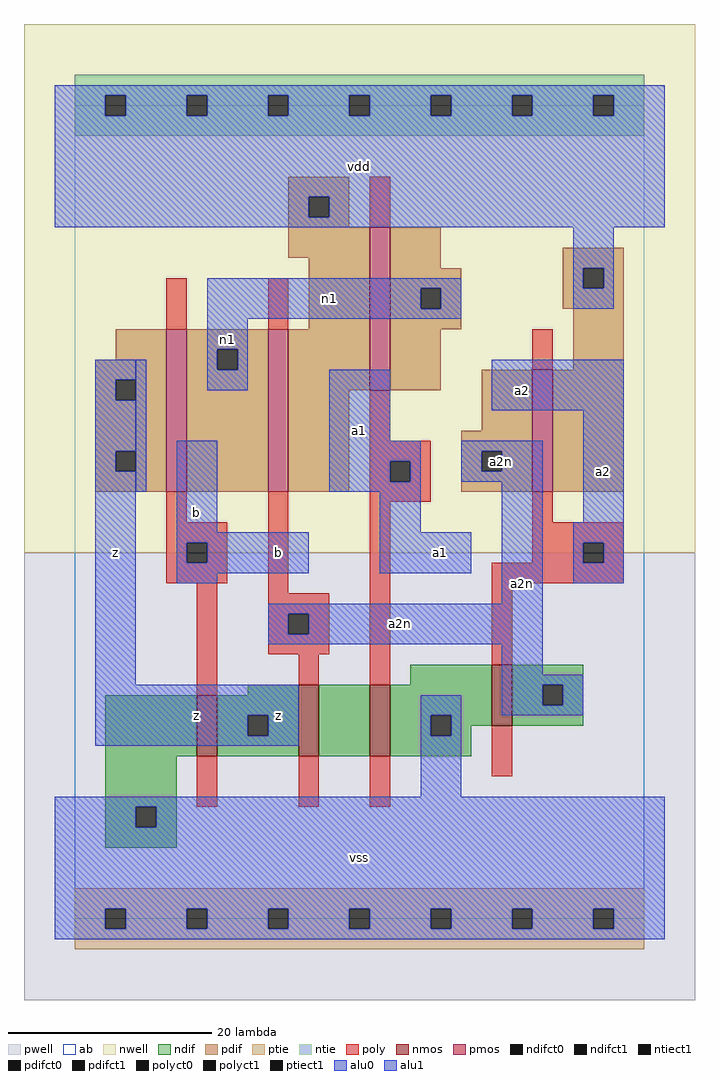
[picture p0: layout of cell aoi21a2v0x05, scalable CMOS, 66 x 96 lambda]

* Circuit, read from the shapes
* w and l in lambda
.subckt aoi21a2v0x05 a1 a2 a2n b n1 vdd vss z
M1 z b vss vss nfet w=6 l=2
M2 n2 a2n z vss nfet w=7 l=2
M3 vss a1 n2 vss nfet w=7 l=2
M4 a2n a2 vss vss nfet w=6 l=2
M5 n1 b z vdd pfet w=16 l=2
M6 vdd a2n n1 vdd pfet w=16 l=2
M7 n1 a1 vdd vdd pfet w=16 l=2
M8 vdd a2 a2n vdd pfet w=12 l=2
.ends

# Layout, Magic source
magic
tech scmos
<< ab >>
rect 0 0 56 80
<< nwell >>
rect -5 36 61 88
<< pwell >>
rect -5 -8 61 36
<< poly >>
rect 29 68 31 73
rect 9 58 11 63
rect 19 58 21 63
rect 45 54 47 58
rect 29 47 31 52
rect 29 45 35 47
rect 29 43 31 45
rect 33 43 35 45
rect 9 39 11 42
rect 9 37 15 39
rect 9 35 11 37
rect 13 35 15 37
rect 9 33 15 35
rect 12 22 14 33
rect 19 32 21 42
rect 29 41 35 43
rect 19 30 25 32
rect 19 28 21 30
rect 23 28 25 30
rect 19 26 25 28
rect 22 23 24 26
rect 29 23 31 41
rect 45 39 47 42
rect 45 37 54 39
rect 45 35 50 37
rect 52 35 54 37
rect 41 33 54 35
rect 41 25 43 33
rect 12 11 14 16
rect 22 11 24 16
rect 29 11 31 16
rect 41 14 43 19
<< ndif >>
rect 33 23 41 25
rect 17 22 22 23
rect 3 16 12 22
rect 14 20 22 22
rect 14 18 17 20
rect 19 18 22 20
rect 14 16 22 18
rect 24 16 29 23
rect 31 20 41 23
rect 31 18 35 20
rect 37 19 41 20
rect 43 23 50 25
rect 43 21 46 23
rect 48 21 50 23
rect 43 19 50 21
rect 37 18 39 19
rect 31 16 39 18
rect 3 11 10 16
rect 3 9 6 11
rect 8 9 10 11
rect 3 7 10 9
<< pdif >>
rect 21 71 27 73
rect 21 69 23 71
rect 25 69 27 71
rect 21 68 27 69
rect 21 65 29 68
rect 23 58 29 65
rect 4 55 9 58
rect 2 53 9 55
rect 2 51 4 53
rect 6 51 9 53
rect 2 46 9 51
rect 2 44 4 46
rect 6 44 9 46
rect 2 42 9 44
rect 11 56 19 58
rect 11 54 14 56
rect 16 54 19 56
rect 11 42 19 54
rect 21 52 29 58
rect 31 64 36 68
rect 48 64 54 66
rect 31 62 38 64
rect 31 60 34 62
rect 36 60 38 62
rect 48 62 50 64
rect 52 62 54 64
rect 48 60 54 62
rect 31 58 38 60
rect 31 52 36 58
rect 49 54 54 60
rect 21 42 27 52
rect 40 48 45 54
rect 38 46 45 48
rect 38 44 40 46
rect 42 44 45 46
rect 38 42 45 44
rect 47 42 54 54
<< alu1 >>
rect -2 81 58 82
rect -2 79 3 81
rect 5 79 11 81
rect 13 79 19 81
rect 21 79 27 81
rect 29 79 35 81
rect 37 79 43 81
rect 45 79 51 81
rect 53 79 58 81
rect -2 71 58 79
rect -2 69 23 71
rect 25 69 58 71
rect -2 68 58 69
rect 49 64 53 68
rect 49 62 50 64
rect 52 62 53 64
rect 49 60 53 62
rect 2 53 6 55
rect 2 51 4 53
rect 2 46 6 51
rect 2 44 4 46
rect 2 23 6 44
rect 25 47 31 54
rect 41 50 54 55
rect 10 38 14 47
rect 25 45 34 47
rect 25 43 31 45
rect 33 43 34 45
rect 25 42 34 43
rect 30 38 34 42
rect 10 37 23 38
rect 10 35 11 37
rect 13 35 23 37
rect 10 34 23 35
rect 30 34 39 38
rect 10 33 14 34
rect 50 39 54 50
rect 49 37 54 39
rect 49 35 50 37
rect 52 35 54 37
rect 49 33 54 35
rect 2 20 22 23
rect 2 18 17 20
rect 19 18 22 20
rect 2 17 22 18
rect 34 20 38 22
rect 34 18 35 20
rect 37 18 38 20
rect 34 12 38 18
rect -2 11 58 12
rect -2 9 6 11
rect 8 9 58 11
rect -2 1 58 9
rect -2 -1 3 1
rect 5 -1 11 1
rect 13 -1 19 1
rect 21 -1 27 1
rect 29 -1 35 1
rect 37 -1 43 1
rect 45 -1 51 1
rect 53 -1 58 1
rect -2 -2 58 -1
<< ptie >>
rect 0 1 56 3
rect 0 -1 3 1
rect 5 -1 11 1
rect 13 -1 19 1
rect 21 -1 27 1
rect 29 -1 35 1
rect 37 -1 43 1
rect 45 -1 51 1
rect 53 -1 56 1
rect 0 -3 56 -1
<< ntie >>
rect 0 81 56 83
rect 0 79 3 81
rect 5 79 11 81
rect 13 79 19 81
rect 21 79 27 81
rect 29 79 35 81
rect 37 79 43 81
rect 45 79 51 81
rect 53 79 56 81
rect 0 77 56 79
<< nmos >>
rect 12 16 14 22
rect 22 16 24 23
rect 29 16 31 23
rect 41 19 43 25
<< pmos >>
rect 9 42 11 58
rect 19 42 21 58
rect 29 52 31 68
rect 45 42 47 54
<< polyct0 >>
rect 21 28 23 30
<< polyct1 >>
rect 31 43 33 45
rect 11 35 13 37
rect 50 35 52 37
<< ndifct0 >>
rect 46 21 48 23
<< ndifct1 >>
rect 17 18 19 20
rect 35 18 37 20
rect 6 9 8 11
<< ntiect1 >>
rect 3 79 5 81
rect 11 79 13 81
rect 19 79 21 81
rect 27 79 29 81
rect 35 79 37 81
rect 43 79 45 81
rect 51 79 53 81
<< ptiect1 >>
rect 3 -1 5 1
rect 11 -1 13 1
rect 19 -1 21 1
rect 27 -1 29 1
rect 35 -1 37 1
rect 43 -1 45 1
rect 51 -1 53 1
<< pdifct0 >>
rect 14 54 16 56
rect 34 60 36 62
rect 40 44 42 46
<< pdifct1 >>
rect 23 69 25 71
rect 4 51 6 53
rect 4 44 6 46
rect 50 62 52 64
<< alu0 >>
rect 13 62 38 63
rect 13 60 34 62
rect 36 60 38 62
rect 13 59 38 60
rect 13 56 17 59
rect 6 42 7 55
rect 13 54 14 56
rect 16 54 17 56
rect 13 52 17 54
rect 38 46 46 47
rect 38 44 40 46
rect 42 44 46 46
rect 38 43 46 44
rect 42 31 46 43
rect 19 30 46 31
rect 19 28 21 30
rect 23 28 46 30
rect 19 27 46 28
rect 42 24 46 27
rect 42 23 50 24
rect 42 21 46 23
rect 48 21 50 23
rect 42 20 50 21
<< labels >>
rlabel alu0 15 57 15 57 6 n1
rlabel alu0 25 61 25 61 6 n1
rlabel alu0 32 29 32 29 6 a2n
rlabel alu0 44 33 44 33 6 a2n
rlabel alu0 42 45 42 45 6 a2n
rlabel alu1 4 36 4 36 6 z
rlabel alu1 20 20 20 20 6 z
rlabel alu1 12 20 12 20 6 z
rlabel alu1 20 36 20 36 6 b
rlabel alu1 12 40 12 40 6 b
rlabel alu1 28 6 28 6 6 vss
rlabel alu1 36 36 36 36 6 a1
rlabel alu1 28 48 28 48 6 a1
rlabel alu1 28 74 28 74 6 vdd
rlabel alu1 52 44 52 44 6 a2
rlabel alu1 44 52 44 52 6 a2
<< end >>
